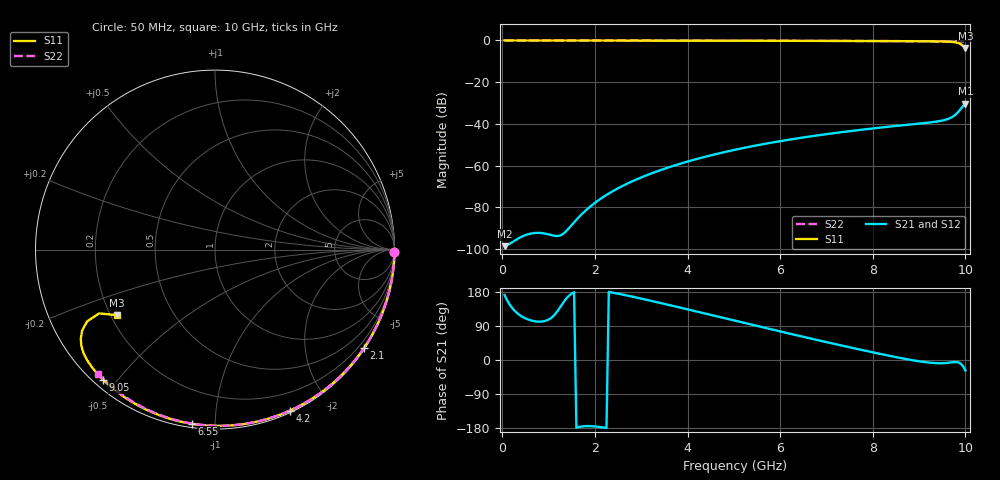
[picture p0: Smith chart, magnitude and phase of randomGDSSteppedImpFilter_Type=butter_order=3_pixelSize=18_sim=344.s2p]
! freq	dB(S11)	phase(S11)	dB(S12)	phase(S12)
!  dB(S21)	phase(S21)	dB(S22)	phase(S22)
!S-par simulation data
#  GHz  S  DB  R 50
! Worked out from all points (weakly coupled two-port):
!   200 points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, 50 MHz to 10 GHz, reference 50 ohm
!   highest |S21| = -30.37 dB at 10 GHz (marker M1); lowest = -98.7 dB at 50 MHz (marker M2)
!   lowest |S11| = -3.7 dB at 10 GHz (marker M3), VSWR 4.83, Z = 11.3 - j14.5 ohm
!   |S11| at or under -10 dB: nowhere
!   |S22| runs from -0.4 to 0.0 dB; largest |S21 - S12| = 0
!   S11 on the Smith chart (normalised r, x): 50 MHz: open; 2.1 GHz: 0.03, -3.32; 4.2 GHz: 0.02, -1.57; 6.55 GHz: 0.02, -0.88; 9.05 GHz: 0.03, -0.46; 10 GHz: 0.23, -0.29
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0.05  -0.00 -0.8  -98.67 171.4  -98.67 171.4  -0.00 -0.8
0.85  -0.01 -13.8  -92.38 101.5  -92.38 101.5  -0.02 -13.0
1.75  -0.04 -28.1  -82.60 -174.8  -82.60 -174.8  -0.03 -26.6
1.9  -0.04 -30.4  -79.65 -174.5  -79.65 -174.5  -0.04 -28.8
2.1  -0.04 -33.6  -76.29 -176.6  -76.29 -176.6  -0.04 -31.8
2.35  -0.05 -37.4  -72.74 178.5  -72.74 178.5  -0.05 -35.5
2.65  -0.05 -42.1  -69.19 171.3  -69.19 171.3  -0.05 -39.8
3.4  -0.07 -53.4  -62.31 150.9  -62.31 150.9  -0.07 -50.6
4.2  -0.09 -65.1  -56.85 127.9  -56.85 127.9  -0.09 -61.8
5.05  -0.12 -77.2  -52.31 103.1  -52.31 103.1  -0.11 -73.2
5.8  -0.15 -87.5  -49.06 81.2  -49.06 81.2  -0.14 -83.0
6.55  -0.18 -97.5  -46.36 59.7  -46.36 59.7  -0.17 -92.5
6.7  -0.19 -99.5  -45.87 55.5  -45.87 55.5  -0.18 -94.3
7.5  -0.24 -110.0  -43.50 33.5  -43.50 33.5  -0.23 -104.1
8.35  -0.31 -121.1  -41.35 11.3  -41.35 11.3  -0.29 -114.2
9.05  -0.39 -130.6  -39.77 -4.3  -39.77 -4.3  -0.35 -122.4
9.55  -0.52 -139.1  -38.16 -8.2  -38.16 -8.2  -0.40 -128.2
9.7  -0.67 -143.0  -36.89 -6.3  -36.89 -6.3  -0.42 -129.9
9.8  -0.95 -146.5  -35.32 -5.5  -35.32 -5.5  -0.43 -131.0
9.9  -1.76 -150.7  -32.85 -9.7  -32.85 -9.7  -0.44 -132.2
9.95  -2.65 -151.1  -31.45 -16.6  -31.45 -16.6  -0.44 -132.8
10  -3.65 -146.2  -30.37 -27.7  -30.37 -27.7  -0.44 -133.3
